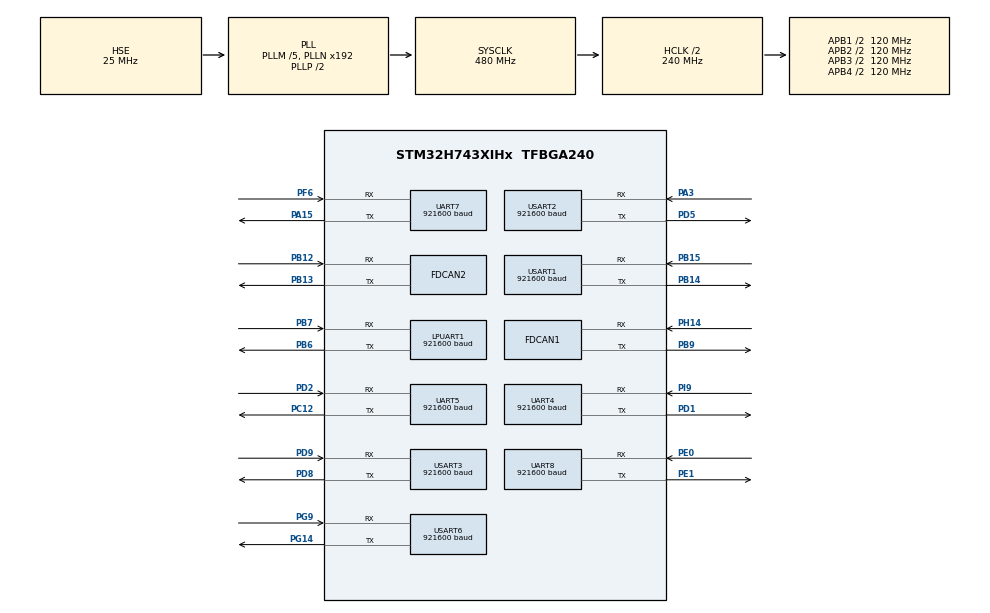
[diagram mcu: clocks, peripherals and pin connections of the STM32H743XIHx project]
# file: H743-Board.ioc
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Bdma.LPUART1_RX.1.Direction=DMA_PERIPH_TO_MEMORY
Bdma.LPUART1_RX.1.EventEnable=DISABLE
Bdma.LPUART1_RX.1.Instance=BDMA_Channel1
Bdma.LPUART1_RX.1.MemDataAlignment=DMA_MDATAALIGN_BYTE
Bdma.LPUART1_RX.1.MemInc=DMA_MINC_ENABLE
Bdma.LPUART1_RX.1.Mode=DMA_NORMAL
Bdma.LPUART1_RX.1.PeriphDataAlignment=DMA_PDATAALIGN_BYTE
Bdma.LPUART1_RX.1.PeriphInc=DMA_PINC_DISABLE
Bdma.LPUART1_RX.1.Polarity=HAL_DMAMUX_REQ_GEN_RISING
Bdma.LPUART1_RX.1.Priority=DMA_PRIORITY_LOW
Bdma.LPUART1_RX.1.RequestNumber=1
Bdma.LPUART1_RX.1.SignalID=NONE
Bdma.LPUART1_RX.1.SyncEnable=DISABLE
Bdma.LPUART1_RX.1.SyncPolarity=HAL_DMAMUX_SYNC_NO_EVENT
Bdma.LPUART1_RX.1.SyncRequestNumber=1
Bdma.LPUART1_RX.1.SyncSignalID=NONE
Bdma.LPUART1_TX.0.Direction=DMA_MEMORY_TO_PERIPH
Bdma.LPUART1_TX.0.EventEnable=DISABLE
Bdma.LPUART1_TX.0.Instance=BDMA_Channel0
Bdma.LPUART1_TX.0.MemDataAlignment=DMA_MDATAALIGN_BYTE
Bdma.LPUART1_TX.0.MemInc=DMA_MINC_ENABLE
Bdma.LPUART1_TX.0.Mode=DMA_NORMAL
Bdma.LPUART1_TX.0.PeriphDataAlignment=DMA_PDATAALIGN_BYTE
Bdma.LPUART1_TX.0.PeriphInc=DMA_PINC_DISABLE
Bdma.LPUART1_TX.0.Polarity=HAL_DMAMUX_REQ_GEN_RISING
Bdma.LPUART1_TX.0.Priority=DMA_PRIORITY_LOW
Bdma.LPUART1_TX.0.RequestNumber=1
Bdma.LPUART1_TX.0.SignalID=NONE
Bdma.LPUART1_TX.0.SyncEnable=DISABLE
Bdma.LPUART1_TX.0.SyncPolarity=HAL_DMAMUX_SYNC_NO_EVENT
Bdma.LPUART1_TX.0.SyncRequestNumber=1
Bdma.LPUART1_TX.0.SyncSignalID=NONE
Bdma.Request0=LPUART1_TX
Bdma.Request1=LPUART1_RX
Bdma.RequestsNb=2
CORTEX_M7.default_mode_Activation=1
Dma.Request0=UART4_RX
Dma.Request1=UART4_TX
Dma.Request10=USART2_RX
Dma.Request11=USART2_TX
Dma.Request12=USART3_RX
Dma.Request13=USART3_TX
Dma.Request14=USART6_RX
Dma.Request15=USART6_TX
Dma.Request2=UART5_RX
Dma.Request3=UART5_TX
Dma.Request4=UART7_RX
Dma.Request5=UART7_TX
Dma.Request6=UART8_RX
Dma.Request7=UART8_TX
Dma.Request8=USART1_RX
Dma.Request9=USART1_TX
Dma.UART4_RX.0.Direction=DMA_PERIPH_TO_MEMORY
Dma.UART4_RX.0.EventEnable=DISABLE
Dma.UART4_RX.0.FIFOMode=DMA_FIFOMODE_DISABLE
Dma.UART4_RX.0.Instance=DMA1_Stream0
Dma.UART4_RX.0.MemDataAlignment=DMA_MDATAALIGN_BYTE
Dma.UART4_RX.0.MemInc=DMA_MINC_ENABLE
Dma.UART4_RX.0.Mode=DMA_NORMAL
Dma.UART4_RX.0.PeriphDataAlignment=DMA_PDATAALIGN_BYTE
Dma.UART4_RX.0.PeriphInc=DMA_PINC_DISABLE
Dma.UART4_RX.0.Polarity=HAL_DMAMUX_REQ_GEN_RISING
Dma.UART4_RX.0.Priority=DMA_PRIORITY_LOW
Dma.UART4_RX.0.RequestNumber=1
Dma.UART4_RX.0.SignalID=NONE
Dma.UART4_RX.0.SyncEnable=DISABLE
Dma.UART4_RX.0.SyncPolarity=HAL_DMAMUX_SYNC_NO_EVENT
Dma.UART4_RX.0.SyncRequestNumber=1
Dma.UART4_RX.0.SyncSignalID=NONE
Dma.UART4_TX.1.Direction=DMA_MEMORY_TO_PERIPH
Dma.UART4_TX.1.EventEnable=DISABLE
Dma.UART4_TX.1.FIFOMode=DMA_FIFOMODE_DISABLE
Dma.UART4_TX.1.Instance=DMA1_Stream1
Dma.UART4_TX.1.MemDataAlignment=DMA_MDATAALIGN_BYTE
Dma.UART4_TX.1.MemInc=DMA_MINC_ENABLE
Dma.UART4_TX.1.Mode=DMA_NORMAL
Dma.UART4_TX.1.PeriphDataAlignment=DMA_PDATAALIGN_BYTE
Dma.UART4_TX.1.PeriphInc=DMA_PINC_DISABLE
Dma.UART4_TX.1.Polarity=HAL_DMAMUX_REQ_GEN_RISING
Dma.UART4_TX.1.Priority=DMA_PRIORITY_LOW
Dma.UART4_TX.1.RequestNumber=1
Dma.UART4_TX.1.SignalID=NONE
Dma.UART4_TX.1.SyncEnable=DISABLE
Dma.UART4_TX.1.SyncPolarity=HAL_DMAMUX_SYNC_NO_EVENT
Dma.UART4_TX.1.SyncRequestNumber=1
Dma.UART4_TX.1.SyncSignalID=NONE
Dma.UART5_RX.2.Direction=DMA_PERIPH_TO_MEMORY
Dma.UART5_RX.2.EventEnable=DISABLE
Dma.UART5_RX.2.FIFOMode=DMA_FIFOMODE_DISABLE
Dma.UART5_RX.2.Instance=DMA1_Stream2
Dma.UART5_RX.2.MemDataAlignment=DMA_MDATAALIGN_BYTE
Dma.UART5_RX.2.MemInc=DMA_MINC_ENABLE
Dma.UART5_RX.2.Mode=DMA_NORMAL
Dma.UART5_RX.2.PeriphDataAlignment=DMA_PDATAALIGN_BYTE
Dma.UART5_RX.2.PeriphInc=DMA_PINC_DISABLE
Dma.UART5_RX.2.Polarity=HAL_DMAMUX_REQ_GEN_RISING
Dma.UART5_RX.2.Priority=DMA_PRIORITY_LOW
Dma.UART5_RX.2.RequestNumber=1
Dma.UART5_RX.2.SignalID=NONE
Dma.UART5_RX.2.SyncEnable=DISABLE
Dma.UART5_RX.2.SyncPolarity=HAL_DMAMUX_SYNC_NO_EVENT
Dma.UART5_RX.2.SyncRequestNumber=1
Dma.UART5_RX.2.SyncSignalID=NONE
Dma.UART5_TX.3.Direction=DMA_MEMORY_TO_PERIPH
Dma.UART5_TX.3.EventEnable=DISABLE
Dma.UART5_TX.3.FIFOMode=DMA_FIFOMODE_DISABLE
Dma.UART5_TX.3.Instance=DMA1_Stream3
Dma.UART5_TX.3.MemDataAlignment=DMA_MDATAALIGN_BYTE
Dma.UART5_TX.3.MemInc=DMA_MINC_ENABLE
Dma.UART5_TX.3.Mode=DMA_NORMAL
Dma.UART5_TX.3.PeriphDataAlignment=DMA_PDATAALIGN_BYTE
Dma.UART5_TX.3.PeriphInc=DMA_PINC_DISABLE
Dma.UART5_TX.3.Polarity=HAL_DMAMUX_REQ_GEN_RISING
Dma.UART5_TX.3.Priority=DMA_PRIORITY_LOW
Dma.UART5_TX.3.RequestNumber=1
Dma.UART5_TX.3.SignalID=NONE
Dma.UART5_TX.3.SyncEnable=DISABLE
Dma.UART5_TX.3.SyncPolarity=HAL_DMAMUX_SYNC_NO_EVENT
Dma.UART5_TX.3.SyncRequestNumber=1
Dma.UART5_TX.3.SyncSignalID=NONE
Dma.UART7_RX.4.Direction=DMA_PERIPH_TO_MEMORY
Dma.UART7_RX.4.EventEnable=DISABLE
Dma.UART7_RX.4.FIFOMode=DMA_FIFOMODE_DISABLE
Dma.UART7_RX.4.Instance=DMA1_Stream4
Dma.UART7_RX.4.MemDataAlignment=DMA_MDATAALIGN_BYTE
Dma.UART7_RX.4.MemInc=DMA_MINC_ENABLE
Dma.UART7_RX.4.Mode=DMA_NORMAL
Dma.UART7_RX.4.PeriphDataAlignment=DMA_PDATAALIGN_BYTE
Dma.UART7_RX.4.PeriphInc=DMA_PINC_DISABLE
Dma.UART7_RX.4.Polarity=HAL_DMAMUX_REQ_GEN_RISING
Dma.UART7_RX.4.Priority=DMA_PRIORITY_LOW
Dma.UART7_RX.4.RequestNumber=1
Dma.UART7_RX.4.SignalID=NONE
Dma.UART7_RX.4.SyncEnable=DISABLE
Dma.UART7_RX.4.SyncPolarity=HAL_DMAMUX_SYNC_NO_EVENT
Dma.UART7_RX.4.SyncRequestNumber=1
Dma.UART7_RX.4.SyncSignalID=NONE
Dma.UART7_TX.5.Direction=DMA_MEMORY_TO_PERIPH
Dma.UART7_TX.5.EventEnable=DISABLE
Dma.UART7_TX.5.FIFOMode=DMA_FIFOMODE_DISABLE
Dma.UART7_TX.5.Instance=DMA1_Stream5
Dma.UART7_TX.5.MemDataAlignment=DMA_MDATAALIGN_BYTE
Dma.UART7_TX.5.MemInc=DMA_MINC_ENABLE
Dma.UART7_TX.5.Mode=DMA_NORMAL
Dma.UART7_TX.5.PeriphDataAlignment=DMA_PDATAALIGN_BYTE
Dma.UART7_TX.5.PeriphInc=DMA_PINC_DISABLE
Dma.UART7_TX.5.Polarity=HAL_DMAMUX_REQ_GEN_RISING
Dma.UART7_TX.5.Priority=DMA_PRIORITY_LOW
Dma.UART7_TX.5.RequestNumber=1
Dma.UART7_TX.5.SignalID=NONE
Dma.UART7_TX.5.SyncEnable=DISABLE
Dma.UART7_TX.5.SyncPolarity=HAL_DMAMUX_SYNC_NO_EVENT
Dma.UART7_TX.5.SyncRequestNumber=1
Dma.UART7_TX.5.SyncSignalID=NONE
Dma.UART8_RX.6.Direction=DMA_PERIPH_TO_MEMORY
Dma.UART8_RX.6.EventEnable=DISABLE
Dma.UART8_RX.6.FIFOMode=DMA_FIFOMODE_DISABLE
Dma.UART8_RX.6.Instance=DMA1_Stream6
Dma.UART8_RX.6.MemDataAlignment=DMA_MDATAALIGN_BYTE
Dma.UART8_RX.6.MemInc=DMA_MINC_ENABLE
Dma.UART8_RX.6.Mode=DMA_NORMAL
Dma.UART8_RX.6.PeriphDataAlignment=DMA_PDATAALIGN_BYTE
Dma.UART8_RX.6.PeriphInc=DMA_PINC_DISABLE
Dma.UART8_RX.6.Polarity=HAL_DMAMUX_REQ_GEN_RISING
Dma.UART8_RX.6.Priority=DMA_PRIORITY_LOW
Dma.UART8_RX.6.RequestNumber=1
Dma.UART8_RX.6.SignalID=NONE
Dma.UART8_RX.6.SyncEnable=DISABLE
Dma.UART8_RX.6.SyncPolarity=HAL_DMAMUX_SYNC_NO_EVENT
Dma.UART8_RX.6.SyncRequestNumber=1
Dma.UART8_RX.6.SyncSignalID=NONE
Dma.UART8_TX.7.Direction=DMA_MEMORY_TO_PERIPH
Dma.UART8_TX.7.EventEnable=DISABLE
Dma.UART8_TX.7.FIFOMode=DMA_FIFOMODE_DISABLE
Dma.UART8_TX.7.Instance=DMA1_Stream7
Dma.UART8_TX.7.MemDataAlignment=DMA_MDATAALIGN_BYTE
Dma.UART8_TX.7.MemInc=DMA_MINC_ENABLE
Dma.UART8_TX.7.Mode=DMA_NORMAL
Dma.UART8_TX.7.PeriphDataAlignment=DMA_PDATAALIGN_BYTE
Dma.UART8_TX.7.PeriphInc=DMA_PINC_DISABLE
Dma.UART8_TX.7.Polarity=HAL_DMAMUX_REQ_GEN_RISING
Dma.UART8_TX.7.Priority=DMA_PRIORITY_LOW
Dma.UART8_TX.7.RequestNumber=1
Dma.UART8_TX.7.SignalID=NONE
Dma.UART8_TX.7.SyncEnable=DISABLE
Dma.UART8_TX.7.SyncPolarity=HAL_DMAMUX_SYNC_NO_EVENT
Dma.UART8_TX.7.SyncRequestNumber=1
Dma.UART8_TX.7.SyncSignalID=NONE
Dma.USART1_RX.8.Direction=DMA_PERIPH_TO_MEMORY
Dma.USART1_RX.8.EventEnable=DISABLE
Dma.USART1_RX.8.FIFOMode=DMA_FIFOMODE_DISABLE
Dma.USART1_RX.8.Instance=DMA2_Stream0
Dma.USART1_RX.8.MemDataAlignment=DMA_MDATAALIGN_BYTE
Dma.USART1_RX.8.MemInc=DMA_MINC_ENABLE
Dma.USART1_RX.8.Mode=DMA_NORMAL
Dma.USART1_RX.8.PeriphDataAlignment=DMA_PDATAALIGN_BYTE
Dma.USART1_RX.8.PeriphInc=DMA_PINC_DISABLE
Dma.USART1_RX.8.Polarity=HAL_DMAMUX_REQ_GEN_RISING
Dma.USART1_RX.8.Priority=DMA_PRIORITY_LOW
Dma.USART1_RX.8.RequestNumber=1
Dma.USART1_RX.8.SignalID=NONE
Dma.USART1_RX.8.SyncEnable=DISABLE
Dma.USART1_RX.8.SyncPolarity=HAL_DMAMUX_SYNC_NO_EVENT
Dma.USART1_RX.8.SyncRequestNumber=1
Dma.USART1_RX.8.SyncSignalID=NONE
Dma.USART1_TX.9.Direction=DMA_MEMORY_TO_PERIPH
Dma.USART1_TX.9.EventEnable=DISABLE
Dma.USART1_TX.9.FIFOMode=DMA_FIFOMODE_DISABLE
Dma.USART1_TX.9.Instance=DMA2_Stream1
Dma.USART1_TX.9.MemDataAlignment=DMA_MDATAALIGN_BYTE
Dma.USART1_TX.9.MemInc=DMA_MINC_ENABLE
Dma.USART1_TX.9.Mode=DMA_NORMAL
Dma.USART1_TX.9.PeriphDataAlignment=DMA_PDATAALIGN_BYTE
Dma.USART1_TX.9.PeriphInc=DMA_PINC_DISABLE
Dma.USART1_TX.9.Polarity=HAL_DMAMUX_REQ_GEN_RISING
Dma.USART1_TX.9.Priority=DMA_PRIORITY_LOW
Dma.USART1_TX.9.RequestNumber=1
Dma.USART1_TX.9.SignalID=NONE
Dma.USART1_TX.9.SyncEnable=DISABLE
Dma.USART1_TX.9.SyncPolarity=HAL_DMAMUX_SYNC_NO_EVENT
Dma.USART1_TX.9.SyncRequestNumber=1
Dma.USART1_TX.9.SyncSignalID=NONE
Dma.USART2_RX.10.Direction=DMA_PERIPH_TO_MEMORY
Dma.USART2_RX.10.EventEnable=DISABLE
Dma.USART2_RX.10.FIFOMode=DMA_FIFOMODE_DISABLE
Dma.USART2_RX.10.Instance=DMA2_Stream2
Dma.USART2_RX.10.MemDataAlignment=DMA_MDATAALIGN_BYTE
Dma.USART2_RX.10.MemInc=DMA_MINC_ENABLE
Dma.USART2_RX.10.Mode=DMA_NORMAL
Dma.USART2_RX.10.PeriphDataAlignment=DMA_PDATAALIGN_BYTE
Dma.USART2_RX.10.PeriphInc=DMA_PINC_DISABLE
Dma.USART2_RX.10.Polarity=HAL_DMAMUX_REQ_GEN_RISING
Dma.USART2_RX.10.Priority=DMA_PRIORITY_LOW
Dma.USART2_RX.10.RequestNumber=1
Dma.USART2_RX.10.SignalID=NONE
Dma.USART2_RX.10.SyncEnable=DISABLE
Dma.USART2_RX.10.SyncPolarity=HAL_DMAMUX_SYNC_NO_EVENT
Dma.USART2_RX.10.SyncRequestNumber=1
Dma.USART2_RX.10.SyncSignalID=NONE
Dma.USART2_TX.11.Direction=DMA_MEMORY_TO_PERIPH
Dma.USART2_TX.11.EventEnable=DISABLE
Dma.USART2_TX.11.FIFOMode=DMA_FIFOMODE_DISABLE
Dma.USART2_TX.11.Instance=DMA2_Stream3
Dma.USART2_TX.11.MemDataAlignment=DMA_MDATAALIGN_BYTE
Dma.USART2_TX.11.MemInc=DMA_MINC_ENABLE
Dma.USART2_TX.11.Mode=DMA_NORMAL
Dma.USART2_TX.11.PeriphDataAlignment=DMA_PDATAALIGN_BYTE
Dma.USART2_TX.11.PeriphInc=DMA_PINC_DISABLE
Dma.USART2_TX.11.Polarity=HAL_DMAMUX_REQ_GEN_RISING
Dma.USART2_TX.11.Priority=DMA_PRIORITY_LOW
Dma.USART2_TX.11.RequestNumber=1
Dma.USART2_TX.11.SignalID=NONE
Dma.USART2_TX.11.SyncEnable=DISABLE
Dma.USART2_TX.11.SyncPolarity=HAL_DMAMUX_SYNC_NO_EVENT
Dma.USART2_TX.11.SyncRequestNumber=1
Dma.USART2_TX.11.SyncSignalID=NONE
Dma.USART3_RX.12.Direction=DMA_PERIPH_TO_MEMORY
Dma.USART3_RX.12.EventEnable=DISABLE
Dma.USART3_RX.12.FIFOMode=DMA_FIFOMODE_DISABLE
Dma.USART3_RX.12.Instance=DMA2_Stream4
Dma.USART3_RX.12.MemDataAlignment=DMA_MDATAALIGN_BYTE
Dma.USART3_RX.12.MemInc=DMA_MINC_ENABLE
Dma.USART3_RX.12.Mode=DMA_NORMAL
Dma.USART3_RX.12.PeriphDataAlignment=DMA_PDATAALIGN_BYTE
Dma.USART3_RX.12.PeriphInc=DMA_PINC_DISABLE
Dma.USART3_RX.12.Polarity=HAL_DMAMUX_REQ_GEN_RISING
Dma.USART3_RX.12.Priority=DMA_PRIORITY_LOW
Dma.USART3_RX.12.RequestNumber=1
Dma.USART3_RX.12.SignalID=NONE
Dma.USART3_RX.12.SyncEnable=DISABLE
Dma.USART3_RX.12.SyncPolarity=HAL_DMAMUX_SYNC_NO_EVENT
Dma.USART3_RX.12.SyncRequestNumber=1
Dma.USART3_RX.12.SyncSignalID=NONE
Dma.USART3_TX.13.Direction=DMA_MEMORY_TO_PERIPH
Dma.USART3_TX.13.EventEnable=DISABLE
Dma.USART3_TX.13.FIFOMode=DMA_FIFOMODE_DISABLE
Dma.USART3_TX.13.Instance=DMA2_Stream5
Dma.USART3_TX.13.MemDataAlignment=DMA_MDATAALIGN_BYTE
Dma.USART3_TX.13.MemInc=DMA_MINC_ENABLE
Dma.USART3_TX.13.Mode=DMA_NORMAL
Dma.USART3_TX.13.PeriphDataAlignment=DMA_PDATAALIGN_BYTE
Dma.USART3_TX.13.PeriphInc=DMA_PINC_DISABLE
Dma.USART3_TX.13.Polarity=HAL_DMAMUX_REQ_GEN_RISING
Dma.USART3_TX.13.Priority=DMA_PRIORITY_LOW
Dma.USART3_TX.13.RequestNumber=1
Dma.USART3_TX.13.SignalID=NONE
Dma.USART3_TX.13.SyncEnable=DISABLE
Dma.USART3_TX.13.SyncPolarity=HAL_DMAMUX_SYNC_NO_EVENT
Dma.USART3_TX.13.SyncRequestNumber=1
Dma.USART3_TX.13.SyncSignalID=NONE
Dma.USART6_RX.14.Direction=DMA_PERIPH_TO_MEMORY
Dma.USART6_RX.14.EventEnable=DISABLE
Dma.USART6_RX.14.FIFOMode=DMA_FIFOMODE_DISABLE
Dma.USART6_RX.14.Instance=DMA2_Stream6
Dma.USART6_RX.14.MemDataAlignment=DMA_MDATAALIGN_BYTE
Dma.USART6_RX.14.MemInc=DMA_MINC_ENABLE
Dma.USART6_RX.14.Mode=DMA_NORMAL
Dma.USART6_RX.14.PeriphDataAlignment=DMA_PDATAALIGN_BYTE
Dma.USART6_RX.14.PeriphInc=DMA_PINC_DISABLE
Dma.USART6_RX.14.Polarity=HAL_DMAMUX_REQ_GEN_RISING
Dma.USART6_RX.14.Priority=DMA_PRIORITY_LOW
Dma.USART6_RX.14.RequestNumber=1
Dma.USART6_RX.14.SignalID=NONE
Dma.USART6_RX.14.SyncEnable=DISABLE
Dma.USART6_RX.14.SyncPolarity=HAL_DMAMUX_SYNC_NO_EVENT
Dma.USART6_RX.14.SyncRequestNumber=1
Dma.USART6_RX.14.SyncSignalID=NONE
Dma.USART6_TX.15.Direction=DMA_MEMORY_TO_PERIPH
Dma.USART6_TX.15.EventEnable=DISABLE
Dma.USART6_TX.15.FIFOMode=DMA_FIFOMODE_DISABLE
Dma.USART6_TX.15.Instance=DMA2_Stream7
Dma.USART6_TX.15.MemDataAlignment=DMA_MDATAALIGN_BYTE
Dma.USART6_TX.15.MemInc=DMA_MINC_ENABLE
Dma.USART6_TX.15.Mode=DMA_NORMAL
Dma.USART6_TX.15.PeriphDataAlignment=DMA_PDATAALIGN_BYTE
Dma.USART6_TX.15.PeriphInc=DMA_PINC_DISABLE
Dma.USART6_TX.15.Polarity=HAL_DMAMUX_REQ_GEN_RISING
Dma.USART6_TX.15.Priority=DMA_PRIORITY_LOW
Dma.USART6_TX.15.RequestNumber=1
Dma.USART6_TX.15.SignalID=NONE
Dma.USART6_TX.15.SyncEnable=DISABLE
Dma.USART6_TX.15.SyncPolarity=HAL_DMAMUX_SYNC_NO_EVENT
Dma.USART6_TX.15.SyncRequestNumber=1
Dma.USART6_TX.15.SyncSignalID=NONE
FDCAN1.CalculateBaudRateNominal=2500000
FDCAN1.CalculateTimeBitNominal=400
FDCAN1.CalculateTimeQuantumNominal=133.33333333333334
FDCAN2.CalculateBaudRateNominal=2500000
FDCAN2.CalculateTimeBitNominal=400
FDCAN2.CalculateTimeQuantumNominal=133.33333333333334
LPUART1.BaudRate=921600
Mcu.Family=STM32H7
Mcu.Name=STM32H743XIHx
Mcu.Package=TFBGA240
NVIC.BDMA_Channel0_IRQn=true\:0\:0\:false\:false\:true\:false\:true\:true
NVIC.BDMA_Channel1_IRQn=true\:0\:0\:false\:false\:true\:false\:true\:true
NVIC.DMA1_Stream0_IRQn=true\:0\:0\:false\:false\:true\:false\:true\:true
NVIC.DMA1_Stream1_IRQn=true\:0\:0\:false\:false\:true\:false\:true\:true
NVIC.DMA1_Stream2_IRQn=true\:0\:0\:false\:false\:true\:false\:true\:true
NVIC.DMA1_Stream3_IRQn=true\:0\:0\:false\:false\:true\:false\:true\:true
NVIC.DMA1_Stream4_IRQn=true\:0\:0\:false\:false\:true\:false\:true\:true
NVIC.DMA1_Stream5_IRQn=true\:0\:0\:false\:false\:true\:false\:true\:true
NVIC.DMA1_Stream6_IRQn=true\:0\:0\:false\:false\:true\:false\:true\:true
NVIC.DMA1_Stream7_IRQn=true\:0\:0\:false\:false\:true\:false\:true\:true
NVIC.DMA2_Stream0_IRQn=true\:0\:0\:false\:false\:true\:false\:true\:true
NVIC.DMA2_Stream1_IRQn=true\:0\:0\:false\:false\:true\:false\:true\:true
NVIC.DMA2_Stream2_IRQn=true\:0\:0\:false\:false\:true\:false\:true\:true
NVIC.DMA2_Stream3_IRQn=true\:0\:0\:false\:false\:true\:false\:true\:true
NVIC.DMA2_Stream4_IRQn=true\:0\:0\:false\:false\:true\:false\:true\:true
NVIC.DMA2_Stream5_IRQn=true\:0\:0\:false\:false\:true\:false\:true\:true
NVIC.DMA2_Stream6_IRQn=true\:0\:0\:false\:false\:true\:false\:true\:true
NVIC.DMA2_Stream7_IRQn=true\:0\:0\:false\:false\:true\:false\:true\:true
NVIC.FDCAN1_IT0_IRQn=true\:0\:0\:false\:false\:true\:true\:true\:true
NVIC.FDCAN1_IT1_IRQn=true\:0\:0\:false\:false\:true\:true\:true\:true
NVIC.FDCAN2_IT0_IRQn=true\:0\:0\:false\:false\:true\:true\:true\:true
NVIC.FDCAN2_IT1_IRQn=true\:0\:0\:false\:false\:true\:true\:true\:true
NVIC.FDCAN_CAL_IRQn=true\:0\:0\:false\:false\:true\:true\:true\:true
NVIC.LPUART1_IRQn=true\:0\:0\:false\:false\:true\:true\:true\:true
NVIC.PriorityGroup=NVIC_PRIORITYGROUP_4
NVIC.UART4_IRQn=true\:0\:0\:false\:false\:true\:true\:true\:true
NVIC.UART5_IRQn=true\:0\:0\:false\:false\:true\:true\:true\:true
NVIC.UART7_IRQn=true\:0\:0\:false\:false\:true\:true\:true\:true
NVIC.UART8_IRQn=true\:0\:0\:false\:false\:true\:true\:true\:true
NVIC.USART1_IRQn=true\:0\:0\:false\:false\:true\:true\:true\:true
NVIC.USART2_IRQn=true\:0\:0\:false\:false\:true\:true\:true\:true
NVIC.USART3_IRQn=true\:0\:0\:false\:false\:true\:true\:true\:true
NVIC.USART6_IRQn=true\:0\:0\:false\:false\:true\:true\:true\:true
PA13\ (JTMS/SWDIO).Mode=Serial_Wire
PA13\ (JTMS/SWDIO).Signal=DEBUG_JTMS-SWDIO
PA14\ (JTCK/SWCLK).Mode=Serial_Wire
PA14\ (JTCK/SWCLK).Signal=DEBUG_JTCK-SWCLK
PA15\ (JTDI).Mode=Asynchronous
PA15\ (JTDI).Signal=UART7_TX
PA3.Mode=Asynchronous
PA3.Signal=USART2_RX
PB12.Mode=FDCAN_Activate
PB12.Signal=FDCAN2_RX
PB13.Mode=FDCAN_Activate
PB13.Signal=FDCAN2_TX
PB14.Mode=Asynchronous
PB14.Signal=USART1_TX
PB15.Mode=Asynchronous
PB15.Signal=USART1_RX
PB6.Mode=Asynchronous
PB6.Signal=LPUART1_TX
PB7.Mode=Asynchronous
PB7.Signal=LPUART1_RX
PB9.Mode=FDCAN_Activate
PB9.Signal=FDCAN1_TX
PC12.Mode=Asynchronous
PC12.Signal=UART5_TX
PC14-OSC32_IN\ (OSC32_IN).Mode=LSE-External-Oscillator
PC14-OSC32_IN\ (OSC32_IN).Signal=RCC_OSC32_IN
PC15-OSC32_OUT\ (OSC32_OUT).Mode=LSE-External-Oscillator
PC15-OSC32_OUT\ (OSC32_OUT).Signal=RCC_OSC32_OUT
PD1.Mode=Asynchronous
PD1.Signal=UART4_TX
PD2.Mode=Asynchronous
PD2.Signal=UART5_RX
PD5.Mode=Asynchronous
PD5.Signal=USART2_TX
PD8.Mode=Asynchronous
PD8.Signal=USART3_TX
PD9.Mode=Asynchronous
PD9.Signal=USART3_RX
PE0.Mode=Asynchronous
PE0.Signal=UART8_RX
PE1.Mode=Asynchronous
PE1.Signal=UART8_TX
PF6.Mode=Asynchronous
PF6.Signal=UART7_RX
PG14.Mode=Asynchronous
PG14.Signal=USART6_TX
PG9.Mode=Asynchronous
PG9.Signal=USART6_RX
PH0-OSC_IN\ (PH0).Mode=HSE-External-Oscillator
PH0-OSC_IN\ (PH0).Signal=RCC_OSC_IN
PH1-OSC_OUT\ (PH1).Mode=HSE-External-Oscillator
PH1-OSC_OUT\ (PH1).Signal=RCC_OSC_OUT
PH14.Mode=FDCAN_Activate
PH14.Signal=FDCAN1_RX
PI9.Mode=Asynchronous
PI9.Signal=UART4_RX
ProjectManager.HeapSize=0x200
ProjectManager.StackSize=0x400
ProjectManager.TargetToolchain=STM32CubeIDE
RCC.ADCFreq_Value=50390625
RCC.APB1Freq_Value=120000000
RCC.APB2Freq_Value=120000000
RCC.APB3Freq_Value=120000000
RCC.APB4Freq_Value=120000000
RCC.CortexFreq_Value=480000000
RCC.D1PPRE=RCC_APB3_DIV2
RCC.D2PPRE1=RCC_APB1_DIV2
RCC.D2PPRE2=RCC_APB2_DIV2
RCC.D3PPRE=RCC_APB4_DIV2
RCC.DIVM1=5
RCC.DIVN1=192
RCC.DIVQ1=8
RCC.HCLKFreq_Value=240000000
RCC.HPRE=RCC_HCLK_DIV2
RCC.PLL2FRACN=0
RCC.PLL3FRACN=0
RCC.PLLFRACN=0
RCC.PLLSourceVirtual=RCC_PLLSOURCE_HSE
RCC.SYSCLKFreq_VALUE=480000000
RCC.SYSCLKSource=RCC_SYSCLKSOURCE_PLLCLK
RCC.USBFreq_Value=120000000
UART4.BaudRate=921600
UART5.BaudRate=921600
UART7.BaudRate=921600
UART8.BaudRate=921600
USART1.BaudRate=921600
USART1.VirtualMode-Asynchronous=VM_ASYNC
USART2.BaudRate=921600
USART2.VirtualMode-Asynchronous=VM_ASYNC
USART3.BaudRate=921600
USART3.VirtualMode-Asynchronous=VM_ASYNC
USART6.BaudRate=921600
USART6.VirtualMode-Asynchronous=VM_ASYNC
VP_MEMORYMAP_VS_MEMORYMAP.Mode=CurAppReg
board=custom

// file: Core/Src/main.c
/* USER CODE BEGIN Header */
/**
  ******************************************************************************
  * @file           : main.c
  * @brief          : Main program body
  ******************************************************************************
  * @attention
  *
  * Copyright (c) 2026 STMicroelectronics.
  * All rights reserved.
  *
  * This software is licensed under terms that can be found in the LICENSE file
  * in the root directory of this software component.
  * If no LICENSE file comes with this software, it is provided AS-IS.
  *
  ******************************************************************************
  */
/* USER CODE END Header */
#include "main.h"

/* USER CODE BEGIN Includes */
#include "bsp.h"
/* USER CODE END Includes */

FDCAN_HandleTypeDef hfdcan1;
FDCAN_HandleTypeDef hfdcan2;

UART_HandleTypeDef hlpuart1;
UART_HandleTypeDef huart4;
UART_HandleTypeDef huart5;
UART_HandleTypeDef huart7;
UART_HandleTypeDef huart8;
UART_HandleTypeDef huart1;
UART_HandleTypeDef huart2;
UART_HandleTypeDef huart3;
UART_HandleTypeDef huart6;
DMA_HandleTypeDef hdma_lpuart1_tx;
DMA_HandleTypeDef hdma_lpuart1_rx;
DMA_HandleTypeDef hdma_uart4_rx;
DMA_HandleTypeDef hdma_uart4_tx;
DMA_HandleTypeDef hdma_uart5_rx;
DMA_HandleTypeDef hdma_uart5_tx;
DMA_HandleTypeDef hdma_uart7_rx;
DMA_HandleTypeDef hdma_uart7_tx;
DMA_HandleTypeDef hdma_uart8_rx;
DMA_HandleTypeDef hdma_uart8_tx;
DMA_HandleTypeDef hdma_usart1_rx;
DMA_HandleTypeDef hdma_usart1_tx;
DMA_HandleTypeDef hdma_usart2_rx;
DMA_HandleTypeDef hdma_usart2_tx;
DMA_HandleTypeDef hdma_usart3_rx;
DMA_HandleTypeDef hdma_usart3_tx;
DMA_HandleTypeDef hdma_usart6_rx;
DMA_HandleTypeDef hdma_usart6_tx;

void SystemClock_Config(void);
static void MPU_Config(void);
static void MX_GPIO_Init(void);
static void MX_DMA_Init(void);
static void MX_BDMA_Init(void);
static void MX_UART4_Init(void);
static void MX_UART5_Init(void);
static void MX_UART7_Init(void);
static void MX_UART8_Init(void);
static void MX_USART1_UART_Init(void);
static void MX_USART2_UART_Init(void);
static void MX_USART6_UART_Init(void);
static void MX_LPUART1_UART_Init(void);
static void MX_USART3_UART_Init(void);
static void MX_FDCAN2_Init(void);
static void MX_FDCAN1_Init(void);

int main(void)
{

  /* MPU Configuration--------------------------------------------------------*/
  MPU_Config();

  /* MCU Configuration--------------------------------------------------------*/

  /* Reset of all peripherals, Initializes the Flash interface and the Systick. */
  HAL_Init();

  /* Configure the system clock */
  SystemClock_Config();

  /* Initialize all configured peripherals */
  MX_GPIO_Init();
  MX_DMA_Init();
  MX_BDMA_Init();
  MX_UART4_Init();
  MX_UART5_Init();
  MX_UART7_Init();
  MX_UART8_Init();
  MX_USART1_UART_Init();
  MX_USART2_UART_Init();
  MX_USART6_UART_Init();
  MX_LPUART1_UART_Init();
  MX_USART3_UART_Init();
  MX_FDCAN2_Init();
  MX_FDCAN1_Init();
  /* USER CODE BEGIN 2 */
  UART_Init(&user_lp_uart  ,&hlpuart1);
  UART_Init(&user_stp1_uart,&huart1);
  UART_Init(&user_stp2_uart,&huart2);
  UART_Init(&user_stp3_uart,&huart3);
  UART_Init(&user_stp4_uart,&huart4);
  UART_Init(&user_stp5_uart,&huart5);
  UART_Init(&user_stp6_uart,&huart6);
  UART_Init(&user_stp7_uart,&huart7);
  UART_Init(&user_stp8_uart,&huart8);

  STP23_Init(&user_stp23_num[0],&user_stp1_uart,1);
  STP23_Init(&user_stp23_num[1],&user_stp2_uart,2);
  STP23_Init(&user_stp23_num[2],&user_stp3_uart,3);
  STP23_Init(&user_stp23_num[3],&user_stp4_uart,4);
  STP23_Init(&user_stp23_num[4],&user_stp5_uart,5);
  STP23_Init(&user_stp23_num[5],&user_stp6_uart,6);
  STP23_Init(&user_stp23_num[6],&user_stp7_uart,7);
  STP23_Init(&user_stp23_num[7],&user_stp8_uart,8);

  CAN_Init(&user_can_1,&hfdcan1);
  CAN_Init(&user_can_2,&hfdcan2);

  /* USER CODE END 2 */

  /* Infinite loop */
  while (1)
  {

    /* USER CODE BEGIN 3 */
    LOOP_EVENT_Handle();
  }
  /* USER CODE END 3 */
}

void SystemClock_Config(void)
{
  RCC_OscInitTypeDef RCC_OscInitStruct = {0};
  RCC_ClkInitTypeDef RCC_ClkInitStruct = {0};

  /** Supply configuration update enable
  */
  HAL_PWREx_ConfigSupply(PWR_LDO_SUPPLY);

  /** Configure the main internal regulator output voltage
  */
  __HAL_PWR_VOLTAGESCALING_CONFIG(PWR_REGULATOR_VOLTAGE_SCALE0);

  while(!__HAL_PWR_GET_FLAG(PWR_FLAG_VOSRDY)) {}

  /** Initializes the RCC Oscillators according to the specified parameters
  * in the RCC_OscInitTypeDef structure.
  */
  RCC_OscInitStruct.OscillatorType = RCC_OSCILLATORTYPE_HSE;
  RCC_OscInitStruct.HSEState = RCC_HSE_ON;
  RCC_OscInitStruct.PLL.PLLState = RCC_PLL_ON;
  RCC_OscInitStruct.PLL.PLLSource = RCC_PLLSOURCE_HSE;
  RCC_OscInitStruct.PLL.PLLM = 5;
  RCC_OscInitStruct.PLL.PLLN = 192;
  RCC_OscInitStruct.PLL.PLLP = 2;
  RCC_OscInitStruct.PLL.PLLQ = 8;
  RCC_OscInitStruct.PLL.PLLR = 2;
  RCC_OscInitStruct.PLL.PLLRGE = RCC_PLL1VCIRANGE_2;
  RCC_OscInitStruct.PLL.PLLVCOSEL = RCC_PLL1VCOWIDE;
  RCC_OscInitStruct.PLL.PLLFRACN = 0;
  if (HAL_RCC_OscConfig(&RCC_OscInitStruct) != HAL_OK)
  {
    Error_Handler();
  }

  /** Initializes the CPU, AHB and APB buses clocks
  */
  RCC_ClkInitStruct.ClockType = RCC_CLOCKTYPE_HCLK|RCC_CLOCKTYPE_SYSCLK
                              |RCC_CLOCKTYPE_PCLK1|RCC_CLOCKTYPE_PCLK2
                              |RCC_CLOCKTYPE_D3PCLK1|RCC_CLOCKTYPE_D1PCLK1;
  RCC_ClkInitStruct.SYSCLKSource = RCC_SYSCLKSOURCE_PLLCLK;
  RCC_ClkInitStruct.SYSCLKDivider = RCC_SYSCLK_DIV1;
  RCC_ClkInitStruct.AHBCLKDivider = RCC_HCLK_DIV2;
  RCC_ClkInitStruct.APB3CLKDivider = RCC_APB3_DIV2;
  RCC_ClkInitStruct.APB1CLKDivider = RCC_APB1_DIV2;
  RCC_ClkInitStruct.APB2CLKDivider = RCC_APB2_DIV2;
  RCC_ClkInitStruct.APB4CLKDivider = RCC_APB4_DIV2;

  if (HAL_RCC_ClockConfig(&RCC_ClkInitStruct, FLASH_LATENCY_4) != HAL_OK)
  {
    Error_Handler();
  }
}

static void MX_FDCAN1_Init(void)
{

  hfdcan1.Instance = FDCAN1;
  hfdcan1.Init.FrameFormat = FDCAN_FRAME_CLASSIC;
  hfdcan1.Init.Mode = FDCAN_MODE_NORMAL;
  hfdcan1.Init.AutoRetransmission = DISABLE;
  hfdcan1.Init.TransmitPause = DISABLE;
  hfdcan1.Init.ProtocolException = DISABLE;
  hfdcan1.Init.NominalPrescaler = 16;
  hfdcan1.Init.NominalSyncJumpWidth = 1;
  hfdcan1.Init.NominalTimeSeg1 = 1;
  hfdcan1.Init.NominalTimeSeg2 = 1;
  hfdcan1.Init.DataPrescaler = 1;
  hfdcan1.Init.DataSyncJumpWidth = 1;
  hfdcan1.Init.DataTimeSeg1 = 1;
  hfdcan1.Init.DataTimeSeg2 = 1;
  hfdcan1.Init.MessageRAMOffset = 0;
  hfdcan1.Init.StdFiltersNbr = 0;
  hfdcan1.Init.ExtFiltersNbr = 0;
  hfdcan1.Init.RxFifo0ElmtsNbr = 0;
  hfdcan1.Init.RxFifo0ElmtSize = FDCAN_DATA_BYTES_8;
  hfdcan1.Init.RxFifo1ElmtsNbr = 0;
  hfdcan1.Init.RxFifo1ElmtSize = FDCAN_DATA_BYTES_8;
  hfdcan1.Init.RxBuffersNbr = 0;
  hfdcan1.Init.RxBufferSize = FDCAN_DATA_BYTES_8;
  hfdcan1.Init.TxEventsNbr = 0;
  hfdcan1.Init.TxBuffersNbr = 0;
  hfdcan1.Init.TxFifoQueueElmtsNbr = 0;
  hfdcan1.Init.TxFifoQueueMode = FDCAN_TX_FIFO_OPERATION;
  hfdcan1.Init.TxElmtSize = FDCAN_DATA_BYTES_8;
  if (HAL_FDCAN_Init(&hfdcan1) != HAL_OK)
  {
    Error_Handler();
  }

}

static void MX_FDCAN2_Init(void)
{

  hfdcan2.Instance = FDCAN2;
  hfdcan2.Init.FrameFormat = FDCAN_FRAME_CLASSIC;
  hfdcan2.Init.Mode = FDCAN_MODE_NORMAL;
  hfdcan2.Init.AutoRetransmission = DISABLE;
  hfdcan2.Init.TransmitPause = DISABLE;
  hfdcan2.Init.ProtocolException = DISABLE;
  hfdcan2.Init.NominalPrescaler = 16;
  hfdcan2.Init.NominalSyncJumpWidth = 1;
  hfdcan2.Init.NominalTimeSeg1 = 1;
  hfdcan2.Init.NominalTimeSeg2 = 1;
  hfdcan2.Init.DataPrescaler = 1;
  hfdcan2.Init.DataSyncJumpWidth = 1;
  hfdcan2.Init.DataTimeSeg1 = 1;
  hfdcan2.Init.DataTimeSeg2 = 1;
  hfdcan2.Init.MessageRAMOffset = 0;
  hfdcan2.Init.StdFiltersNbr = 0;
  hfdcan2.Init.ExtFiltersNbr = 0;
  hfdcan2.Init.RxFifo0ElmtsNbr = 0;
  hfdcan2.Init.RxFifo0ElmtSize = FDCAN_DATA_BYTES_8;
  hfdcan2.Init.RxFifo1ElmtsNbr = 0;
  hfdcan2.Init.RxFifo1ElmtSize = FDCAN_DATA_BYTES_8;
  hfdcan2.Init.RxBuffersNbr = 0;
  hfdcan2.Init.RxBufferSize = FDCAN_DATA_BYTES_8;
  hfdcan2.Init.TxEventsNbr = 0;
  hfdcan2.Init.TxBuffersNbr = 0;
  hfdcan2.Init.TxFifoQueueElmtsNbr = 0;
  hfdcan2.Init.TxFifoQueueMode = FDCAN_TX_FIFO_OPERATION;
  hfdcan2.Init.TxElmtSize = FDCAN_DATA_BYTES_8;
  if (HAL_FDCAN_Init(&hfdcan2) != HAL_OK)
  {
    Error_Handler();
  }

}

static void MX_LPUART1_UART_Init(void)
{

  hlpuart1.Instance = LPUART1;
  hlpuart1.Init.BaudRate = 921600;
  hlpuart1.Init.WordLength = UART_WORDLENGTH_8B;
  hlpuart1.Init.StopBits = UART_STOPBITS_1;
  hlpuart1.Init.Parity = UART_PARITY_NONE;
  hlpuart1.Init.Mode = UART_MODE_TX_RX;
  hlpuart1.Init.HwFlowCtl = UART_HWCONTROL_NONE;
  hlpuart1.Init.OneBitSampling = UART_ONE_BIT_SAMPLE_DISABLE;
  hlpuart1.Init.ClockPrescaler = UART_PRESCALER_DIV1;
  hlpuart1.AdvancedInit.AdvFeatureInit = UART_ADVFEATURE_NO_INIT;
  hlpuart1.FifoMode = UART_FIFOMODE_DISABLE;
  if (HAL_UART_Init(&hlpuart1) != HAL_OK)
  {
    Error_Handler();
  }
  if (HAL_UARTEx_SetTxFifoThreshold(&hlpuart1, UART_TXFIFO_THRESHOLD_1_8) != HAL_OK)
  {
    Error_Handler();
  }
  if (HAL_UARTEx_SetRxFifoThreshold(&hlpuart1, UART_RXFIFO_THRESHOLD_1_8) != HAL_OK)
  {
    Error_Handler();
  }
  if (HAL_UARTEx_DisableFifoMode(&hlpuart1) != HAL_OK)
  {
    Error_Handler();
  }

}

static void MX_UART4_Init(void)
{

  huart4.Instance = UART4;
  huart4.Init.BaudRate = 921600;
  huart4.Init.WordLength = UART_WORDLENGTH_8B;
  huart4.Init.StopBits = UART_STOPBITS_1;
  huart4.Init.Parity = UART_PARITY_NONE;
  huart4.Init.Mode = UART_MODE_TX_RX;
  huart4.Init.HwFlowCtl = UART_HWCONTROL_NONE;
  huart4.Init.OverSampling = UART_OVERSAMPLING_16;
  huart4.Init.OneBitSampling = UART_ONE_BIT_SAMPLE_DISABLE;
  huart4.Init.ClockPrescaler = UART_PRESCALER_DIV1;
  huart4.AdvancedInit.AdvFeatureInit = UART_ADVFEATURE_NO_INIT;
  if (HAL_UART_Init(&huart4) != HAL_OK)
  {
    Error_Handler();
  }
  if (HAL_UARTEx_SetTxFifoThreshold(&huart4, UART_TXFIFO_THRESHOLD_1_8) != HAL_OK)
  {
    Error_Handler();
  }
  if (HAL_UARTEx_SetRxFifoThreshold(&huart4, UART_RXFIFO_THRESHOLD_1_8) != HAL_OK)
  {
    Error_Handler();
  }
  if (HAL_UARTEx_DisableFifoMode(&huart4) != HAL_OK)
  {
    Error_Handler();
  }

}

static void MX_UART5_Init(void)
{

  huart5.Instance = UART5;
  huart5.Init.BaudRate = 921600;
  huart5.Init.WordLength = UART_WORDLENGTH_8B;
  huart5.Init.StopBits = UART_STOPBITS_1;
  huart5.Init.Parity = UART_PARITY_NONE;
  huart5.Init.Mode = UART_MODE_TX_RX;
  huart5.Init.HwFlowCtl = UART_HWCONTROL_NONE;
  huart5.Init.OverSampling = UART_OVERSAMPLING_16;
  huart5.Init.OneBitSampling = UART_ONE_BIT_SAMPLE_DISABLE;
  huart5.Init.ClockPrescaler = UART_PRESCALER_DIV1;
  huart5.AdvancedInit.AdvFeatureInit = UART_ADVFEATURE_NO_INIT;
  if (HAL_UART_Init(&huart5) != HAL_OK)
  {
    Error_Handler();
  }
  if (HAL_UARTEx_SetTxFifoThreshold(&huart5, UART_TXFIFO_THRESHOLD_1_8) != HAL_OK)
  {
    Error_Handler();
  }
  if (HAL_UARTEx_SetRxFifoThreshold(&huart5, UART_RXFIFO_THRESHOLD_1_8) != HAL_OK)
  {
    Error_Handler();
  }
  if (HAL_UARTEx_DisableFifoMode(&huart5) != HAL_OK)
  {
    Error_Handler();
  }

}

static void MX_UART7_Init(void)
{

  huart7.Instance = UART7;
  huart7.Init.BaudRate = 921600;
  huart7.Init.WordLength = UART_WORDLENGTH_8B;
  huart7.Init.StopBits = UART_STOPBITS_1;
  huart7.Init.Parity = UART_PARITY_NONE;
  huart7.Init.Mode = UART_MODE_TX_RX;
  huart7.Init.HwFlowCtl = UART_HWCONTROL_NONE;
  huart7.Init.OverSampling = UART_OVERSAMPLING_16;
  huart7.Init.OneBitSampling = UART_ONE_BIT_SAMPLE_DISABLE;
  huart7.Init.ClockPrescaler = UART_PRESCALER_DIV1;
  huart7.AdvancedInit.AdvFeatureInit = UART_ADVFEATURE_NO_INIT;
  if (HAL_UART_Init(&huart7) != HAL_OK)
  {
    Error_Handler();
  }
  if (HAL_UARTEx_SetTxFifoThreshold(&huart7, UART_TXFIFO_THRESHOLD_1_8) != HAL_OK)
  {
    Error_Handler();
  }
  if (HAL_UARTEx_SetRxFifoThreshold(&huart7, UART_RXFIFO_THRESHOLD_1_8) != HAL_OK)
  {
    Error_Handler();
  }
  if (HAL_UARTEx_DisableFifoMode(&huart7) != HAL_OK)
  {
    Error_Handler();
  }

}

static void MX_UART8_Init(void)
{

  huart8.Instance = UART8;
  huart8.Init.BaudRate = 921600;
  huart8.Init.WordLength = UART_WORDLENGTH_8B;
  huart8.Init.StopBits = UART_STOPBITS_1;
  huart8.Init.Parity = UART_PARITY_NONE;
  huart8.Init.Mode = UART_MODE_TX_RX;
  huart8.Init.HwFlowCtl = UART_HWCONTROL_NONE;
  huart8.Init.OverSampling = UART_OVERSAMPLING_16;
  huart8.Init.OneBitSampling = UART_ONE_BIT_SAMPLE_DISABLE;
  huart8.Init.ClockPrescaler = UART_PRESCALER_DIV1;
  huart8.AdvancedInit.AdvFeatureInit = UART_ADVFEATURE_NO_INIT;
  if (HAL_UART_Init(&huart8) != HAL_OK)
  {
    Error_Handler();
  }
  if (HAL_UARTEx_SetTxFifoThreshold(&huart8, UART_TXFIFO_THRESHOLD_1_8) != HAL_OK)
  {
    Error_Handler();
  }
  if (HAL_UARTEx_SetRxFifoThreshold(&huart8, UART_RXFIFO_THRESHOLD_1_8) != HAL_OK)
  {
    Error_Handler();
  }
  if (HAL_UARTEx_DisableFifoMode(&huart8) != HAL_OK)
  {
    Error_Handler();
  }

}

static void MX_USART1_UART_Init(void)
{

  huart1.Instance = USART1;
  huart1.Init.BaudRate = 921600;
  huart1.Init.WordLength = UART_WORDLENGTH_8B;
  huart1.Init.StopBits = UART_STOPBITS_1;
  huart1.Init.Parity = UART_PARITY_NONE;
  huart1.Init.Mode = UART_MODE_TX_RX;
  huart1.Init.HwFlowCtl = UART_HWCONTROL_NONE;
  huart1.Init.OverSampling = UART_OVERSAMPLING_16;
  huart1.Init.OneBitSampling = UART_ONE_BIT_SAMPLE_DISABLE;
  huart1.Init.ClockPrescaler = UART_PRESCALER_DIV1;
  huart1.AdvancedInit.AdvFeatureInit = UART_ADVFEATURE_NO_INIT;
  if (HAL_UART_Init(&huart1) != HAL_OK)
  {
    Error_Handler();
  }
  if (HAL_UARTEx_SetTxFifoThreshold(&huart1, UART_TXFIFO_THRESHOLD_1_8) != HAL_OK)
  {
    Error_Handler();
  }
  if (HAL_UARTEx_SetRxFifoThreshold(&huart1, UART_RXFIFO_THRESHOLD_1_8) != HAL_OK)
  {
    Error_Handler();
  }
  if (HAL_UARTEx_DisableFifoMode(&huart1) != HAL_OK)
  {
    Error_Handler();
  }

}

static void MX_USART2_UART_Init(void)
{

  huart2.Instance = USART2;
  huart2.Init.BaudRate = 921600;
  huart2.Init.WordLength = UART_WORDLENGTH_8B;
  huart2.Init.StopBits = UART_STOPBITS_1;
  huart2.Init.Parity = UART_PARITY_NONE;
  huart2.Init.Mode = UART_MODE_TX_RX;
  huart2.Init.HwFlowCtl = UART_HWCONTROL_NONE;
  huart2.Init.OverSampling = UART_OVERSAMPLING_16;
  huart2.Init.OneBitSampling = UART_ONE_BIT_SAMPLE_DISABLE;
  huart2.Init.ClockPrescaler = UART_PRESCALER_DIV1;
  huart2.AdvancedInit.AdvFeatureInit = UART_ADVFEATURE_NO_INIT;
  if (HAL_UART_Init(&huart2) != HAL_OK)
  {
    Error_Handler();
  }
  if (HAL_UARTEx_SetTxFifoThreshold(&huart2, UART_TXFIFO_THRESHOLD_1_8) != HAL_OK)
  {
    Error_Handler();
  }
  if (HAL_UARTEx_SetRxFifoThreshold(&huart2, UART_RXFIFO_THRESHOLD_1_8) != HAL_OK)
  {
    Error_Handler();
  }
  if (HAL_UARTEx_DisableFifoMode(&huart2) != HAL_OK)
  {
    Error_Handler();
  }

}

static void MX_USART3_UART_Init(void)
{

  huart3.Instance = USART3;
  huart3.Init.BaudRate = 921600;
  huart3.Init.WordLength = UART_WORDLENGTH_8B;
  huart3.Init.StopBits = UART_STOPBITS_1;
  huart3.Init.Parity = UART_PARITY_NONE;
  huart3.Init.Mode = UART_MODE_TX_RX;
  huart3.Init.HwFlowCtl = UART_HWCONTROL_NONE;
  huart3.Init.OverSampling = UART_OVERSAMPLING_16;
  huart3.Init.OneBitSampling = UART_ONE_BIT_SAMPLE_DISABLE;
  huart3.Init.ClockPrescaler = UART_PRESCALER_DIV1;
  huart3.AdvancedInit.AdvFeatureInit = UART_ADVFEATURE_NO_INIT;
  if (HAL_UART_Init(&huart3) != HAL_OK)
  {
    Error_Handler();
  }
  if (HAL_UARTEx_SetTxFifoThreshold(&huart3, UART_TXFIFO_THRESHOLD_1_8) != HAL_OK)
  {
    Error_Handler();
  }
  if (HAL_UARTEx_SetRxFifoThreshold(&huart3, UART_RXFIFO_THRESHOLD_1_8) != HAL_OK)
  {
    Error_Handler();
  }
  if (HAL_UARTEx_DisableFifoMode(&huart3) != HAL_OK)
  {
    Error_Handler();
  }

}

static void MX_USART6_UART_Init(void)
{

  huart6.Instance = USART6;
  huart6.Init.BaudRate = 921600;
  huart6.Init.WordLength = UART_WORDLENGTH_8B;
  huart6.Init.StopBits = UART_STOPBITS_1;
  huart6.Init.Parity = UART_PARITY_NONE;
  huart6.Init.Mode = UART_MODE_TX_RX;
  huart6.Init.HwFlowCtl = UART_HWCONTROL_NONE;
  huart6.Init.OverSampling = UART_OVERSAMPLING_16;
  huart6.Init.OneBitSampling = UART_ONE_BIT_SAMPLE_DISABLE;
  huart6.Init.ClockPrescaler = UART_PRESCALER_DIV1;
  huart6.AdvancedInit.AdvFeatureInit = UART_ADVFEATURE_NO_INIT;
  if (HAL_UART_Init(&huart6) != HAL_OK)
  {
    Error_Handler();
  }
  if (HAL_UARTEx_SetTxFifoThreshold(&huart6, UART_TXFIFO_THRESHOLD_1_8) != HAL_OK)
  {
    Error_Handler();
  }
  if (HAL_UARTEx_SetRxFifoThreshold(&huart6, UART_RXFIFO_THRESHOLD_1_8) != HAL_OK)
  {
    Error_Handler();
  }
  if (HAL_UARTEx_DisableFifoMode(&huart6) != HAL_OK)
  {
    Error_Handler();
  }

}

static void MX_BDMA_Init(void)
{

  /* DMA controller clock enable */
  __HAL_RCC_BDMA_CLK_ENABLE();

  /* DMA interrupt init */
  /* BDMA_Channel0_IRQn interrupt configuration */
  HAL_NVIC_SetPriority(BDMA_Channel0_IRQn, 0, 0);
  HAL_NVIC_EnableIRQ(BDMA_Channel0_IRQn);
  /* BDMA_Channel1_IRQn interrupt configuration */
  HAL_NVIC_SetPriority(BDMA_Channel1_IRQn, 0, 0);
  HAL_NVIC_EnableIRQ(BDMA_Channel1_IRQn);

}

static void MX_DMA_Init(void)
{

  /* DMA controller clock enable */
  __HAL_RCC_DMA1_CLK_ENABLE();
  __HAL_RCC_DMA2_CLK_ENABLE();

  /* DMA interrupt init */
  /* DMA1_Stream0_IRQn interrupt configuration */
  HAL_NVIC_SetPriority(DMA1_Stream0_IRQn, 0, 0);
  HAL_NVIC_EnableIRQ(DMA1_Stream0_IRQn);
  /* DMA1_Stream1_IRQn interrupt configuration */
  HAL_NVIC_SetPriority(DMA1_Stream1_IRQn, 0, 0);
  HAL_NVIC_EnableIRQ(DMA1_Stream1_IRQn);
  /* DMA1_Stream2_IRQn interrupt configuration */
  HAL_NVIC_SetPriority(DMA1_Stream2_IRQn, 0, 0);
  HAL_NVIC_EnableIRQ(DMA1_Stream2_IRQn);
  /* DMA1_Stream3_IRQn interrupt configuration */
  HAL_NVIC_SetPriority(DMA1_Stream3_IRQn, 0, 0);
  HAL_NVIC_EnableIRQ(DMA1_Stream3_IRQn);
  /* DMA1_Stream4_IRQn interrupt configuration */
  HAL_NVIC_SetPriority(DMA1_Stream4_IRQn, 0, 0);
  HAL_NVIC_EnableIRQ(DMA1_Stream4_IRQn);
  /* DMA1_Stream5_IRQn interrupt configuration */
  HAL_NVIC_SetPriority(DMA1_Stream5_IRQn, 0, 0);
  HAL_NVIC_EnableIRQ(DMA1_Stream5_IRQn);
  /* DMA1_Stream6_IRQn interrupt configuration */
  HAL_NVIC_SetPriority(DMA1_Stream6_IRQn, 0, 0);
  HAL_NVIC_EnableIRQ(DMA1_Stream6_IRQn);
  /* DMA1_Stream7_IRQn interrupt configuration */
  HAL_NVIC_SetPriority(DMA1_Stream7_IRQn, 0, 0);
  HAL_NVIC_EnableIRQ(DMA1_Stream7_IRQn);
  /* DMA2_Stream0_IRQn interrupt configuration */
  HAL_NVIC_SetPriority(DMA2_Stream0_IRQn, 0, 0);
  HAL_NVIC_EnableIRQ(DMA2_Stream0_IRQn);
  /* DMA2_Stream1_IRQn interrupt configuration */
  HAL_NVIC_SetPriority(DMA2_Stream1_IRQn, 0, 0);
  HAL_NVIC_EnableIRQ(DMA2_Stream1_IRQn);
  /* DMA2_Stream2_IRQn interrupt configuration */
  HAL_NVIC_SetPriority(DMA2_Stream2_IRQn, 0, 0);
  HAL_NVIC_EnableIRQ(DMA2_Stream2_IRQn);
  /* DMA2_Stream3_IRQn interrupt configuration */
  HAL_NVIC_SetPriority(DMA2_Stream3_IRQn, 0, 0);
  HAL_NVIC_EnableIRQ(DMA2_Stream3_IRQn);
  /* DMA2_Stream4_IRQn interrupt configuration */
  HAL_NVIC_SetPriority(DMA2_Stream4_IRQn, 0, 0);
  HAL_NVIC_EnableIRQ(DMA2_Stream4_IRQn);
  /* DMA2_Stream5_IRQn interrupt configuration */
  HAL_NVIC_SetPriority(DMA2_Stream5_IRQn, 0, 0);
  HAL_NVIC_EnableIRQ(DMA2_Stream5_IRQn);
  /* DMA2_Stream6_IRQn interrupt configuration */
  HAL_NVIC_SetPriority(DMA2_Stream6_IRQn, 0, 0);
  HAL_NVIC_EnableIRQ(DMA2_Stream6_IRQn);
  /* DMA2_Stream7_IRQn interrupt configuration */
  HAL_NVIC_SetPriority(DMA2_Stream7_IRQn, 0, 0);
  HAL_NVIC_EnableIRQ(DMA2_Stream7_IRQn);

}

static void MX_GPIO_Init(void)
{

  /* GPIO Ports Clock Enable */
  __HAL_RCC_GPIOG_CLK_ENABLE();
  __HAL_RCC_GPIOD_CLK_ENABLE();
  __HAL_RCC_GPIOA_CLK_ENABLE();
  __HAL_RCC_GPIOE_CLK_ENABLE();
  __HAL_RCC_GPIOB_CLK_ENABLE();
  __HAL_RCC_GPIOH_CLK_ENABLE();
  __HAL_RCC_GPIOC_CLK_ENABLE();
  __HAL_RCC_GPIOI_CLK_ENABLE();
  __HAL_RCC_GPIOF_CLK_ENABLE();

}

 /* MPU Configuration */

void MPU_Config(void)
{
  MPU_Region_InitTypeDef MPU_InitStruct = {0};

  /* Disables the MPU */
  HAL_MPU_Disable();

  /** Initializes and configures the Region and the memory to be protected
  */
  MPU_InitStruct.Enable = MPU_REGION_ENABLE;
  MPU_InitStruct.Number = MPU_REGION_NUMBER0;
  MPU_InitStruct.BaseAddress = 0x0;
  MPU_InitStruct.Size = MPU_REGION_SIZE_4GB;
  MPU_InitStruct.SubRegionDisable = 0x87;
  MPU_InitStruct.TypeExtField = MPU_TEX_LEVEL0;
  MPU_InitStruct.AccessPermission = MPU_REGION_NO_ACCESS;
  MPU_InitStruct.DisableExec = MPU_INSTRUCTION_ACCESS_DISABLE;
  MPU_InitStruct.IsShareable = MPU_ACCESS_SHAREABLE;
  MPU_InitStruct.IsCacheable = MPU_ACCESS_NOT_CACHEABLE;
  MPU_InitStruct.IsBufferable = MPU_ACCESS_NOT_BUFFERABLE;

  HAL_MPU_ConfigRegion(&MPU_InitStruct);
  /* Enables the MPU */
  HAL_MPU_Enable(MPU_PRIVILEGED_DEFAULT);

}

void Error_Handler(void)
{
  __disable_irq();
  while (1)
  {
  }
}
